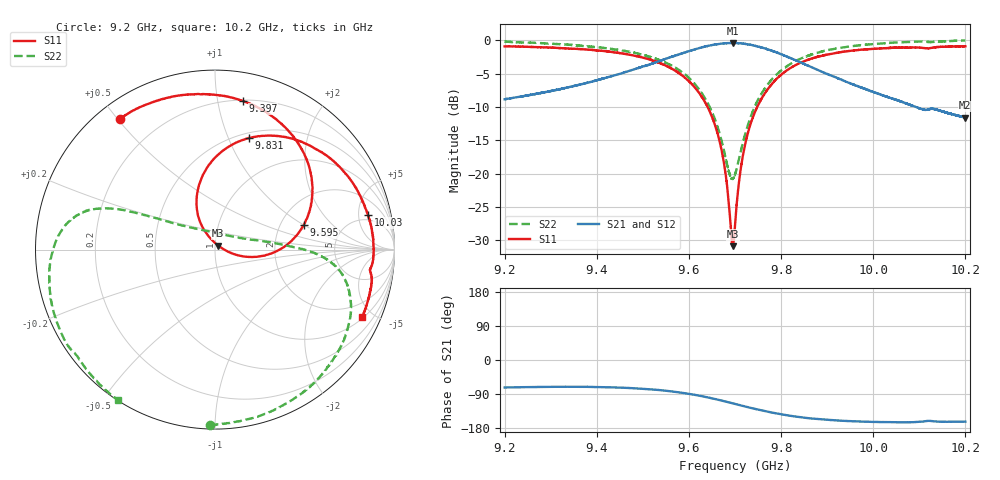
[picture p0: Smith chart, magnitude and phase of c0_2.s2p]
!Agilent Technologies,N5242A,MY51221714,A.09.90.19
!Agilent N5242A: A.09.90.19
!Date: Saturday, March 16, 2024 09:47:49
!Correction: S11(Full 2 Port(1,2))
!S21(Full 2 Port(1,2))
!S12(Full 2 Port(1,2))
!S22(Full 2 Port(1,2))
!S2P File: Measurements: S11, S21, S12, S22:
# Hz S  dB  R 50
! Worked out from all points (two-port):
!   16001 points, 9.2 GHz to 10.2 GHz, reference 50 ohm
!   highest |S21| = -0.39 dB at 9.696 GHz (marker M1); lowest = -11.6 dB at 10.2 GHz (marker M2)
!   |S21| within 3 dB of the highest: 9.525 GHz to 9.845 GHz (320.1 MHz wide, 3.31 % of centre); 9.844946 GHz to 9.845084 GHz (137.8 kHz wide, 0.0014 % of centre)
!   lowest |S11| = -30.9 dB at 9.695 GHz (marker M3), VSWR 1.06, Z = 51.7 + j2.33 ohm
!   |S11| at or under -10 dB: 9.641 GHz to 9.748 GHz (107.4 MHz wide, 1.11 % of centre)
!   |S22| runs from -20.8 to 0.0 dB; largest |S21 - S12| = 0.013
!   S11 on the Smith chart (normalised r, x): 9.2 GHz: 0.07, +0.51; 9.397 GHz: 0.21, +1.18; 9.595 GHz: 2.69, +1.00; 9.831 GHz: 0.55, +1.19; 10.03 GHz: 4.01, +6.54; 10.2 GHz: 1.08, -4.35
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9.2e9  -0.92 126.0  -8.84 -72.6  -8.82 -73.2  -0.20 -91.6
9.277625e9  -1.03 108.4  -7.91 -71.2  -7.89 -71.7  -0.42 -70.2
9.366688e9  -1.34 87.1  -6.59 -70.9  -6.57 -71.4  -0.83 -46.8
9.396875e9  -1.49 79.4  -6.04 -71.1  -6.03 -71.8  -1.01 -39.2
9.533375e9  -3.32 38.6  -3.18 -79.1  -3.17 -79.6  -2.90 -10.5
9.5945e9  -5.79 15.4  -1.75 -88.3  -1.74 -88.8  -5.29 -1.6
9.633375e9  -9.09 -0.7  -0.96 -96.8  -0.96 -97.4  -8.55 4.3
9.660562e9  -13.59 -11.4  -0.59 -104.1  -0.59 -104.7  -12.62 13.0
9.677312e9  -18.95 -13.6  -0.45 -108.9  -0.44 -109.6  -16.96 28.5
9.695188e9  -30.88 51.9  -0.40 -114.5  -0.39 -115.0  -20.78 81.5
9.695688e9  -30.70 57.3  -0.39 -114.6  -0.38 -115.2  -20.65 82.9
9.7e9  -27.80 94.7  -0.41 -115.9  -0.39 -116.5  -20.16 99.2
9.716125e9  -17.69 119.3  -0.49 -120.9  -0.47 -121.6  -15.65 134.2
9.7395e9  -11.40 112.6  -0.76 -127.9  -0.74 -128.6  -10.49 148.9
9.778625e9  -6.68 95.0  -1.53 -138.4  -1.52 -139.1  -5.95 155.5
9.830938e9  -3.73 73.0  -2.98 -149.1  -2.97 -149.7  -3.13 160.9
9.866688e9  -2.73 59.7  -4.06 -154.4  -4.05 -155.0  -2.12 165.4
9.949062e9  -1.59 33.8  -6.42 -161.3  -6.43 -161.9  -0.93 179.2
1.002906e10  -1.17 12.7  -8.45 -163.9  -8.44 -164.5  -0.42 -164.0
1.003338e10  -1.16 11.7  -8.56 -163.9  -8.55 -164.6  -0.39 -163.0
1.019962e10  -0.91 -24.5  -11.61 -162.6  -11.57 -163.4  -0.03 -123.1
1.02e10  -0.90 -24.5  -11.59 -162.8  -11.57 -163.3  -0.02 -123.0
